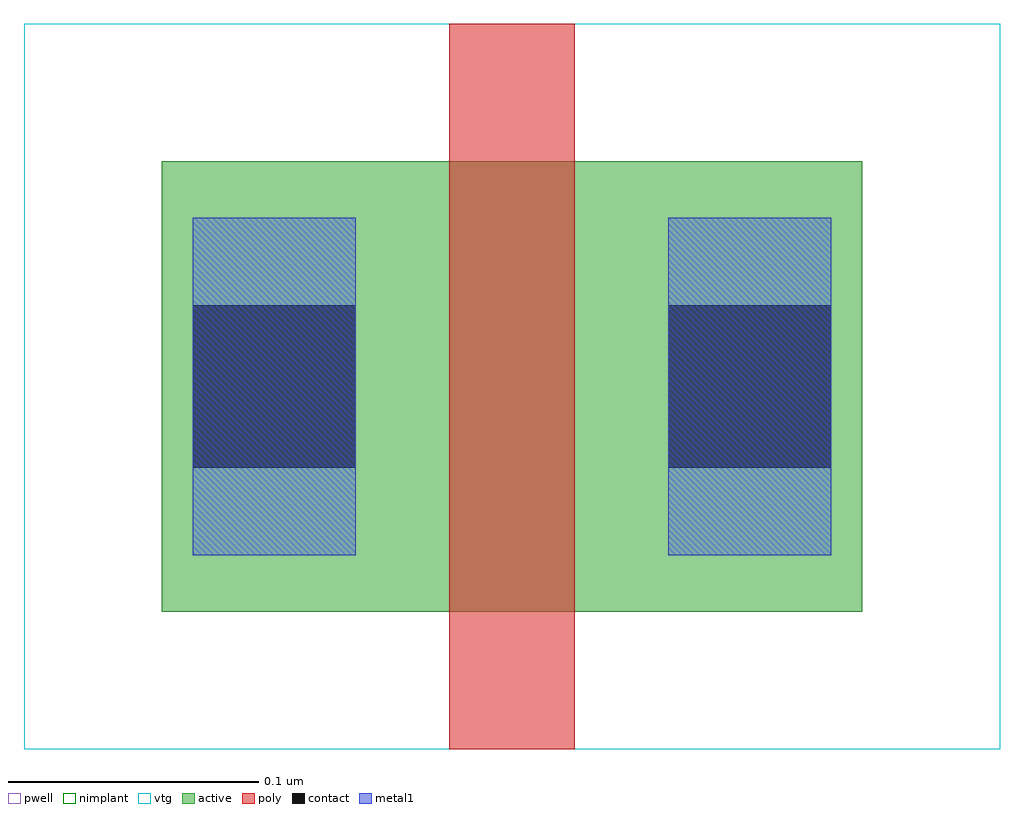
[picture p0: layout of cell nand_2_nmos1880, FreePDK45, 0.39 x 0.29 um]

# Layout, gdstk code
import gdstk
lib = gdstk.Library(unit=1e-6, precision=5e-10)
def R(c, l, rs):  # rectangles x0, y0, x1, y1
    for r in rs: c.add(gdstk.rectangle(r[:2], r[2:], *l))
active = (1, 0)
pwell = (2, 0)
nimplant = (4, 0)
vtg = (6, 0)
poly = (9, 0)
contact = (10, 0)
metal1 = (11, 0)

contact_1x1_num12664 = lib.new_cell('contact_1x1_num12664')
R(contact_1x1_num12664, active, [(0,0.0225,0.09,0.1125)])
R(contact_1x1_num12664, contact, [(0.0125,0.035,0.0775,0.1)])
R(contact_1x1_num12664, metal1, [(0.0125,0,0.0775,0.135)])

contact_1x1_num12665 = lib.new_cell('contact_1x1_num12665')
R(contact_1x1_num12665, active, [(0,0.0225,0.09,0.1125)])
R(contact_1x1_num12665, contact, [(0.0125,0.035,0.0775,0.1)])
R(contact_1x1_num12665, metal1, [(0.0125,0,0.0775,0.135)])

nand_2_nmos1880 = lib.new_cell('nand_2_nmos1880')
R(nand_2_nmos1880, active, [(0.055,0.055,0.335,0.235)])
R(nand_2_nmos1880, pwell, [(0,0,0.39,0.29)])
R(nand_2_nmos1880, nimplant, [(0.055,0.055,0.335,0.235)])
R(nand_2_nmos1880, vtg, [(0,0,0.39,0.29)])
R(nand_2_nmos1880, poly, [(0.17,0,0.22,0.29)])
nand_2_nmos1880.add(gdstk.Reference(contact_1x1_num12664, (0.055,0.0775)))
nand_2_nmos1880.add(gdstk.Reference(contact_1x1_num12665, (0.245,0.0775)))

lib.write_gds('nand_2_nmos1880.gds')
